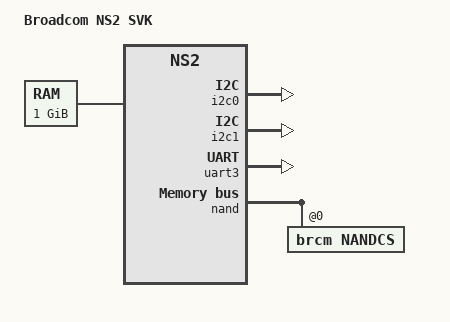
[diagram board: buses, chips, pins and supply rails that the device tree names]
/*
 *  BSD LICENSE
 *
 *  Copyright(c) 2015 Broadcom Corporation.  All rights reserved.
 *
 *  Redistribution and use in source and binary forms, with or without
 *  modification, are permitted provided that the following conditions
 *  are met:
 *
 *    * Redistributions of source code must retain the above copyright
 *      notice, this list of conditions and the following disclaimer.
 *    * Redistributions in binary form must reproduce the above copyright
 *      notice, this list of conditions and the following disclaimer in
 *      the documentation and/or other materials provided with the
 *      distribution.
 *    * Neither the name of Broadcom Corporation nor the names of its
 *      contributors may be used to endorse or promote products derived
 *      from this software without specific prior written permission.
 *
 *  THIS SOFTWARE IS PROVIDED BY THE COPYRIGHT HOLDERS AND CONTRIBUTORS
 *  "AS IS" AND ANY EXPRESS OR IMPLIED WARRANTIES, INCLUDING, BUT NOT
 *  LIMITED TO, THE IMPLIED WARRANTIES OF MERCHANTABILITY AND FITNESS FOR
 *  A PARTICULAR PURPOSE ARE DISCLAIMED. IN NO EVENT SHALL THE COPYRIGHT
 *  OWNER OR CONTRIBUTORS BE LIABLE FOR ANY DIRECT, INDIRECT, INCIDENTAL,
 *  SPECIAL, EXEMPLARY, OR CONSEQUENTIAL DAMAGES (INCLUDING, BUT NOT
 *  LIMITED TO, PROCUREMENT OF SUBSTITUTE GOODS OR SERVICES; LOSS OF USE,
 *  DATA, OR PROFITS; OR BUSINESS INTERRUPTION) HOWEVER CAUSED AND ON ANY
 *  THEORY OF LIABILITY, WHETHER IN CONTRACT, STRICT LIABILITY, OR TORT
 *  (INCLUDING NEGLIGENCE OR OTHERWISE) ARISING IN ANY WAY OUT OF THE USE
 * OF THIS SOFTWARE, EVEN IF ADVISED OF THE POSSIBILITY OF SUCH DAMAGE.
 */

/dts-v1/;

#include "ns2.dtsi"

/ {
	model = "Broadcom NS2 SVK";
	compatible = "brcm,ns2-svk", "brcm,ns2";

	aliases {
		serial0 = &uart3;
	};

	chosen {
		stdout-path = "serial0:115200n8";
	};

	memory {
		device_type = "memory";
		reg = <0x000000000 0x80000000 0x00000000 0x40000000>;
	};
};

&i2c0 {
	status = "ok";
};

&i2c1 {
	status = "ok";
};

&uart3 {
	status = "ok";
};

&nand {
	nandcs@0 {
		compatible = "brcm,nandcs";
		reg = <0>;
		nand-ecc-mode = "hw";
		nand-ecc-strength = <8>;
		nand-ecc-step-size = <512>;
		#address-cells = <1>;
		#size-cells = <1>;
	};
};
